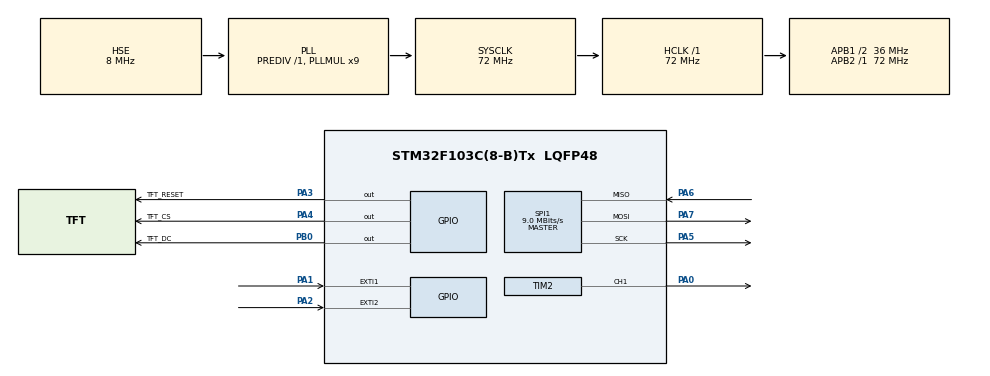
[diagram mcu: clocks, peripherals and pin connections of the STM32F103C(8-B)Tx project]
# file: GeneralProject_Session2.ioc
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Mcu.Family=STM32F1
Mcu.Name=STM32F103C(8-B)Tx
Mcu.Package=LQFP48
NVIC.EXTI1_IRQn=true\:0\:0\:false\:false\:true\:true\:true\:true
NVIC.EXTI2_IRQn=true\:2\:0\:true\:false\:true\:true\:true\:true
NVIC.PriorityGroup=NVIC_PRIORITYGROUP_4
NVIC.TIM2_IRQn=true\:15\:0\:true\:false\:true\:true\:true\:true
PA0-WKUP.Signal=S_TIM2_CH1_ETR
PA1.GPIO_ModeDefaultEXTI=GPIO_MODE_IT_FALLING
PA1.GPIO_PuPd=GPIO_PULLUP
PA1.Signal=GPXTI1
PA13.Mode=Serial_Wire
PA13.Signal=SYS_JTMS-SWDIO
PA14.Mode=Serial_Wire
PA14.Signal=SYS_JTCK-SWCLK
PA2.GPIO_ModeDefaultEXTI=GPIO_MODE_IT_FALLING
PA2.GPIO_PuPd=GPIO_PULLUP
PA2.Signal=GPXTI2
PA3.GPIO_Label=TFT_RESET
PA3.GPIO_ModeDefaultOutputPP=GPIO_MODE_OUTPUT_PP
PA3.GPIO_PuPd=GPIO_NOPULL
PA3.GPIO_Speed=GPIO_SPEED_FREQ_HIGH
PA3.PinState=GPIO_PIN_SET
PA3.Signal=GPIO_Output
PA4.GPIO_Label=TFT_CS
PA4.GPIO_ModeDefaultOutputPP=GPIO_MODE_OUTPUT_PP
PA4.GPIO_PuPd=GPIO_NOPULL
PA4.GPIO_Speed=GPIO_SPEED_FREQ_HIGH
PA4.PinState=GPIO_PIN_SET
PA4.Signal=GPIO_Output
PA5.Mode=Full_Duplex_Master
PA5.Signal=SPI1_SCK
PA6.Mode=Full_Duplex_Master
PA6.Signal=SPI1_MISO
PA7.Mode=Full_Duplex_Master
PA7.Signal=SPI1_MOSI
PB0.GPIO_Label=TFT_DC
PB0.GPIO_ModeDefaultOutputPP=GPIO_MODE_OUTPUT_PP
PB0.GPIO_PuPd=GPIO_NOPULL
PB0.GPIO_Speed=GPIO_SPEED_FREQ_HIGH
PB0.PinState=GPIO_PIN_SET
PB0.Signal=GPIO_Output
PD0-OSC_IN.Mode=HSE-External-Oscillator
PD0-OSC_IN.Signal=RCC_OSC_IN
PD1-OSC_OUT.Mode=HSE-External-Oscillator
PD1-OSC_OUT.Signal=RCC_OSC_OUT
ProjectManager.HeapSize=0x200
ProjectManager.StackSize=0x400
ProjectManager.TargetToolchain=STM32CubeIDE
RCC.AHBFreq_Value=72000000
RCC.APB1CLKDivider=RCC_HCLK_DIV2
RCC.APB1Freq_Value=36000000
RCC.APB1TimFreq_Value=72000000
RCC.APB2Freq_Value=72000000
RCC.APB2TimFreq_Value=72000000
RCC.HCLKFreq_Value=72000000
RCC.PLLMUL=RCC_PLL_MUL9
RCC.PLLSourceVirtual=RCC_PLLSOURCE_HSE
RCC.SYSCLKFreq_VALUE=72000000
RCC.SYSCLKSource=RCC_SYSCLKSOURCE_PLLCLK
RCC.USBFreq_Value=72000000
SH.S_TIM2_CH1_ETR.0=TIM2_CH1,PWM Generation1 CH1
SPI1.BaudRatePrescaler=SPI_BAUDRATEPRESCALER_8
SPI1.CLKPhase=SPI_PHASE_1EDGE
SPI1.CLKPolarity=SPI_POLARITY_LOW
SPI1.CalculateBaudRate=9.0 MBits/s
SPI1.Direction=SPI_DIRECTION_2LINES
SPI1.Mode=SPI_MODE_MASTER
SPI1.VirtualType=VM_MASTER
TIM2.Channel-PWM\ Generation1\ CH1=TIM_CHANNEL_1
TIM2.Period=999
TIM2.Prescaler=71
VP_TIM2_VS_ClockSourceINT.Mode=Internal
board=custom

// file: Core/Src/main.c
/* USER CODE BEGIN Header */
/**
  ******************************************************************************
  * @file           : main.c
  * @brief          : Main program body
  ******************************************************************************
  * @attention
  *
  * Copyright (c) 2026 STMicroelectronics.
  * All rights reserved.
  *
  * This software is licensed under terms that can be found in the LICENSE file
  * in the root directory of this software component.
  * If no LICENSE file comes with this software, it is provided AS-IS.
  *
  ******************************************************************************
  */
/* USER CODE END Header */
#include "main.h"
#include "ST7789.h"

SPI_HandleTypeDef hspi1;

TIM_HandleTypeDef htim2;

/* USER CODE BEGIN PV */

typedef enum {
	SYS_STATE_NORMAL = 0,
	SYS_STATE_LOCKED,
	SYS_STATE_RESETING
}SystemState_t;

static volatile SystemState_t g_systemState = SYS_STATE_NORMAL;

#define PWM_MAX_VAL 1000
#define PWM_MIN_VAL 0
#define PWM_STEP 15
#define BREATHING_INTERVAL_MS 20
#define RESET_HOLD_TIME_MS 1500

static volatile uint32_t estop_ms = 0;
static volatile uint32_t reset_ms = 0;
static uint32_t reset_start_ms = 0;

/* USER CODE END PV */

void SystemClock_Config(void);
static void MX_GPIO_Init(void);
static void MX_TIM2_Init(void);
static void MX_SPI1_Init(void);

/* USER CODE BEGIN 0 */

void Breathing_Status(void) {
	static uint32_t breathing_ms = 0;
	static int16_t pwm_val = 0;
	static int16_t pwm_step = PWM_STEP;

	uint32_t now = HAL_GetTick();

	if(now - breathing_ms >= BREATHING_INTERVAL_MS){
		breathing_ms = now;
		pwm_val += pwm_step;
		if(pwm_val >= PWM_MAX_VAL) {
			pwm_val = PWM_MAX_VAL;
			pwm_step = -PWM_STEP;
		}
		if(pwm_val <= PWM_MIN_VAL) {
			pwm_val = PWM_MIN_VAL;
			pwm_step = PWM_STEP;
		}
		__HAL_TIM_SET_COMPARE(&htim2, TIM_CHANNEL_1, pwm_val);
	}
}

void UpdateDisplayState(SystemState_t state) {
    static SystemState_t last_rendered_state = (SystemState_t)-1;

    if (state != last_rendered_state) {
        last_rendered_state = state;

        ST7789_FillScreen(ST7789_BLACK);

        switch (state) {
        case SYS_STATE_NORMAL:
            ST7789_WriteString(40, 100, "SYSTEM NORMAL", ST7789_GREEN, ST7789_BLACK, 2);
            ST7789_WriteString(55, 130, "LED BREATHING", ST7789_WHITE, ST7789_BLACK, 1);
            break;

        case SYS_STATE_LOCKED:
            ST7789_WriteString(40, 100, "SYSTEM LOCKED", ST7789_RED, ST7789_BLACK, 2);
            ST7789_WriteString(45, 130, "EMERGENCY STOP", ST7789_YELLOW, ST7789_BLACK, 1);
            break;

        case SYS_STATE_RESETING:
            ST7789_WriteString(40, 100, "SYSTEM RESET", ST7789_YELLOW, ST7789_BLACK, 2);
            ST7789_WriteString(50, 130, "RESTARTING...", ST7789_WHITE, ST7789_BLACK, 1);
            break;
        }
    }
}

void ProcessSystem(void) {
	static uint8_t lock_msg_sent = 0;
	static uint8_t first_run = 1;
	if(first_run) {
		first_run = 0;
	}

	UpdateDisplayState(g_systemState);

	switch(g_systemState)
	{
	case SYS_STATE_LOCKED:
		__HAL_TIM_SET_COMPARE(&htim2, TIM_CHANNEL_1, 0);
		if(!lock_msg_sent) {
			lock_msg_sent = 1;
		}
		break;
	case SYS_STATE_RESETING:

		__disable_irq();
		if(g_systemState == SYS_STATE_RESETING && HAL_GetTick() - reset_start_ms >= RESET_HOLD_TIME_MS){
			g_systemState = SYS_STATE_NORMAL;
		}
		__enable_irq();

		lock_msg_sent = 0;
		break;
	case SYS_STATE_NORMAL:
		Breathing_Status();
		break;
	}
}

/* USER CODE END 0 */

int main(void)
{

  /* MCU Configuration--------------------------------------------------------*/

  /* Reset of all peripherals, Initializes the Flash interface and the Systick. */
  HAL_Init();

  /* Configure the system clock */
  SystemClock_Config();

  /* Initialize all configured peripherals */
  MX_GPIO_Init();
  MX_TIM2_Init();
  MX_SPI1_Init();
  /* USER CODE BEGIN 2 */
  HAL_TIM_PWM_Start(&htim2, TIM_CHANNEL_1);

  ST7789_Init();
  ST7789_FillScreen(ST7789_BLACK);
  ST7789_WriteString(30, 100, "SYSTEM NORMAL", ST7789_GREEN, ST7789_BLACK, 2);

  /* USER CODE END 2 */

  /* Infinite loop */
  /* USER CODE BEGIN WHILE */
  while (1)
  {
	  ProcessSystem();

    /* USER CODE END WHILE */

  }
}

void SystemClock_Config(void)
{
  RCC_OscInitTypeDef RCC_OscInitStruct = {0};
  RCC_ClkInitTypeDef RCC_ClkInitStruct = {0};

  /** Initializes the RCC Oscillators according to the specified parameters
  * in the RCC_OscInitTypeDef structure.
  */
  RCC_OscInitStruct.OscillatorType = RCC_OSCILLATORTYPE_HSE;
  RCC_OscInitStruct.HSEState = RCC_HSE_ON;
  RCC_OscInitStruct.HSEPredivValue = RCC_HSE_PREDIV_DIV1;
  RCC_OscInitStruct.HSIState = RCC_HSI_ON;
  RCC_OscInitStruct.PLL.PLLState = RCC_PLL_ON;
  RCC_OscInitStruct.PLL.PLLSource = RCC_PLLSOURCE_HSE;
  RCC_OscInitStruct.PLL.PLLMUL = RCC_PLL_MUL9;
  if (HAL_RCC_OscConfig(&RCC_OscInitStruct) != HAL_OK)
  {
    Error_Handler();
  }

  /** Initializes the CPU, AHB and APB buses clocks
  */
  RCC_ClkInitStruct.ClockType = RCC_CLOCKTYPE_HCLK|RCC_CLOCKTYPE_SYSCLK
                              |RCC_CLOCKTYPE_PCLK1|RCC_CLOCKTYPE_PCLK2;
  RCC_ClkInitStruct.SYSCLKSource = RCC_SYSCLKSOURCE_PLLCLK;
  RCC_ClkInitStruct.AHBCLKDivider = RCC_SYSCLK_DIV1;
  RCC_ClkInitStruct.APB1CLKDivider = RCC_HCLK_DIV2;
  RCC_ClkInitStruct.APB2CLKDivider = RCC_HCLK_DIV1;

  if (HAL_RCC_ClockConfig(&RCC_ClkInitStruct, FLASH_LATENCY_2) != HAL_OK)
  {
    Error_Handler();
  }
}

static void MX_SPI1_Init(void)
{

  /* SPI1 parameter configuration*/
  hspi1.Instance = SPI1;
  hspi1.Init.Mode = SPI_MODE_MASTER;
  hspi1.Init.Direction = SPI_DIRECTION_2LINES;
  hspi1.Init.DataSize = SPI_DATASIZE_8BIT;
  hspi1.Init.CLKPolarity = SPI_POLARITY_LOW;
  hspi1.Init.CLKPhase = SPI_PHASE_1EDGE;
  hspi1.Init.NSS = SPI_NSS_SOFT;
  hspi1.Init.BaudRatePrescaler = SPI_BAUDRATEPRESCALER_8;
  hspi1.Init.FirstBit = SPI_FIRSTBIT_MSB;
  hspi1.Init.TIMode = SPI_TIMODE_DISABLE;
  hspi1.Init.CRCCalculation = SPI_CRCCALCULATION_DISABLE;
  hspi1.Init.CRCPolynomial = 10;
  if (HAL_SPI_Init(&hspi1) != HAL_OK)
  {
    Error_Handler();
  }

}

static void MX_TIM2_Init(void)
{

  TIM_ClockConfigTypeDef sClockSourceConfig = {0};
  TIM_MasterConfigTypeDef sMasterConfig = {0};
  TIM_OC_InitTypeDef sConfigOC = {0};

  htim2.Instance = TIM2;
  htim2.Init.Prescaler = 71;
  htim2.Init.CounterMode = TIM_COUNTERMODE_UP;
  htim2.Init.Period = 999;
  htim2.Init.ClockDivision = TIM_CLOCKDIVISION_DIV1;
  htim2.Init.AutoReloadPreload = TIM_AUTORELOAD_PRELOAD_DISABLE;
  if (HAL_TIM_Base_Init(&htim2) != HAL_OK)
  {
    Error_Handler();
  }
  sClockSourceConfig.ClockSource = TIM_CLOCKSOURCE_INTERNAL;
  if (HAL_TIM_ConfigClockSource(&htim2, &sClockSourceConfig) != HAL_OK)
  {
    Error_Handler();
  }
  if (HAL_TIM_PWM_Init(&htim2) != HAL_OK)
  {
    Error_Handler();
  }
  sMasterConfig.MasterOutputTrigger = TIM_TRGO_RESET;
  sMasterConfig.MasterSlaveMode = TIM_MASTERSLAVEMODE_DISABLE;
  if (HAL_TIMEx_MasterConfigSynchronization(&htim2, &sMasterConfig) != HAL_OK)
  {
    Error_Handler();
  }
  sConfigOC.OCMode = TIM_OCMODE_PWM1;
  sConfigOC.Pulse = 0;
  sConfigOC.OCPolarity = TIM_OCPOLARITY_HIGH;
  sConfigOC.OCFastMode = TIM_OCFAST_DISABLE;
  if (HAL_TIM_PWM_ConfigChannel(&htim2, &sConfigOC, TIM_CHANNEL_1) != HAL_OK)
  {
    Error_Handler();
  }
  HAL_TIM_MspPostInit(&htim2);

}

static void MX_GPIO_Init(void)
{
  GPIO_InitTypeDef GPIO_InitStruct = {0};

  /* GPIO Ports Clock Enable */
  __HAL_RCC_GPIOD_CLK_ENABLE();
  __HAL_RCC_GPIOA_CLK_ENABLE();
  __HAL_RCC_GPIOB_CLK_ENABLE();

  /*Configure GPIO pin Output Level */
  HAL_GPIO_WritePin(GPIOA, TFT_RESET_Pin|TFT_CS_Pin, GPIO_PIN_SET);

  /*Configure GPIO pin Output Level */
  HAL_GPIO_WritePin(TFT_DC_GPIO_Port, TFT_DC_Pin, GPIO_PIN_SET);

  /*Configure GPIO pins : PA1 PA2 */
  GPIO_InitStruct.Pin = GPIO_PIN_1|GPIO_PIN_2;
  GPIO_InitStruct.Mode = GPIO_MODE_IT_FALLING;
  GPIO_InitStruct.Pull = GPIO_PULLUP;
  HAL_GPIO_Init(GPIOA, &GPIO_InitStruct);

  /*Configure GPIO pins : TFT_RESET_Pin TFT_CS_Pin */
  GPIO_InitStruct.Pin = TFT_RESET_Pin|TFT_CS_Pin;
  GPIO_InitStruct.Mode = GPIO_MODE_OUTPUT_PP;
  GPIO_InitStruct.Pull = GPIO_NOPULL;
  GPIO_InitStruct.Speed = GPIO_SPEED_FREQ_HIGH;
  HAL_GPIO_Init(GPIOA, &GPIO_InitStruct);

  /*Configure GPIO pin : TFT_DC_Pin */
  GPIO_InitStruct.Pin = TFT_DC_Pin;
  GPIO_InitStruct.Mode = GPIO_MODE_OUTPUT_PP;
  GPIO_InitStruct.Pull = GPIO_NOPULL;
  GPIO_InitStruct.Speed = GPIO_SPEED_FREQ_HIGH;
  HAL_GPIO_Init(TFT_DC_GPIO_Port, &GPIO_InitStruct);

  /* EXTI interrupt init*/
  HAL_NVIC_SetPriority(EXTI1_IRQn, 0, 0);
  HAL_NVIC_EnableIRQ(EXTI1_IRQn);

  HAL_NVIC_SetPriority(EXTI2_IRQn, 2, 0);
  HAL_NVIC_EnableIRQ(EXTI2_IRQn);

}

/* USER CODE BEGIN 4 */

void HAL_GPIO_EXTI_Callback(uint16_t GPIO_Pin) {

	uint32_t now = HAL_GetTick();

	if(GPIO_Pin == GPIO_PIN_1) {
		if(now - estop_ms >= 50U){
			estop_ms = now;
			g_systemState = SYS_STATE_LOCKED;
		}
	}
	if(GPIO_Pin == GPIO_PIN_2) {
		if(now - reset_ms >= 50U){
			reset_ms = now;
			if(g_systemState == SYS_STATE_LOCKED){
				g_systemState = SYS_STATE_RESETING;
				reset_start_ms = now;
			}
		}
	}
}

/* USER CODE END 4 */

void Error_Handler(void)
{
  __disable_irq();
  while (1)
  {
  }
}
